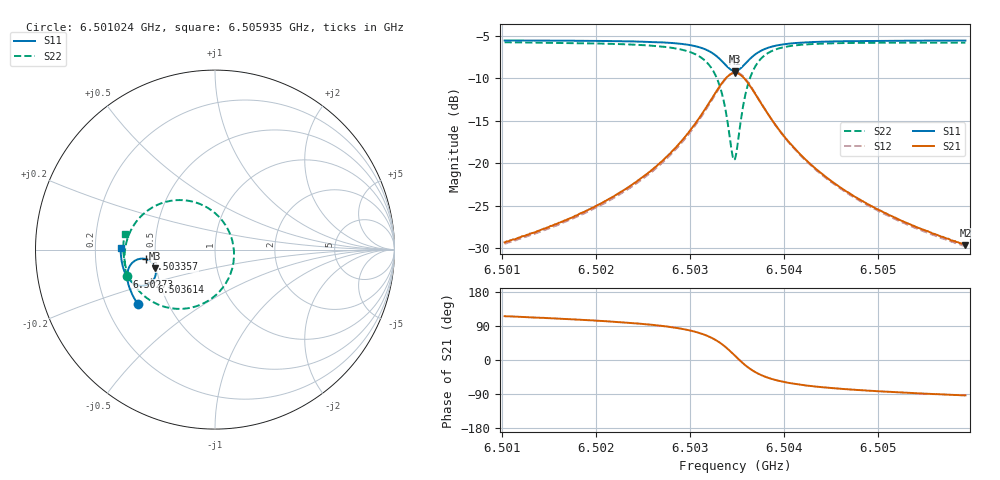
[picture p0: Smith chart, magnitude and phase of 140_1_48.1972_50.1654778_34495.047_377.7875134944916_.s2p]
#  HZ  S  RI  R  50.00
! Rohde & Schwarz Vector Network Analyzer
! Rohde-Schwarz,ZNB20-2Port,1311601062101988,3.16
! Created: UTC 3/20/2024, 11:42:16 AM
! freq[Hz]  re:S11  im:S11  re:S21  im:S21  re:S12  im:S12  re:S22  im:S22
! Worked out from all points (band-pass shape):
!   401 points, 6.501024 GHz to 6.505935 GHz, reference 50 ohm
!   highest |S21| = -9.38 dB at 6.503479 GHz (marker M1); lowest = -29.6 dB at 6.505935 GHz (marker M2)
!   |S21| within 3 dB of the highest: 6.503233 GHz to 6.503724 GHz (490.9 kHz wide, 0.00755 % of centre)
!   lowest |S11| = -9.2 dB at 6.503479 GHz (marker M3), VSWR 2.07, Z = 24.6 - j5.82 ohm
!   |S11| at or under -10 dB: nowhere
!   |S22| runs from -19.6 to -5.8 dB; largest |S21 - S12| = 0.012
!   S11 on the Smith chart (normalised r, x): 6.501024 GHz: 0.34, -0.28; 6.50273 GHz: 0.33, -0.14; 6.503357 GHz: 0.44, -0.05; 6.503614 GHz: 0.45, -0.19; 6.505935 GHz: 0.31, +0.01
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6.5010239e9  -0.4296 -0.3043  -0.0148 0.031  -0.013 0.0312  -0.4924 -0.1467
6.5018465e9  -0.4645 -0.2429  -0.014 0.0492  -0.0117 0.0487  -0.5041 -0.0578
6.5023131e9  -0.4804 -0.2009  -0.0109 0.0698  -0.00774 0.0685  -0.4999 0.0104
6.5026691e9  -0.4885 -0.1605  -0.00148 0.0992  0.00214 0.0968  -0.4793 0.0841
6.5027305e9  -0.489 -0.1523  0.00168 0.1066  0.00542 0.1038  -0.4723 0.1002
6.5029515e9  -0.4854 -0.1171  0.0237 0.142  0.0276 0.1376  -0.4258 0.1712
6.5031111e9  -0.4706 -0.085  0.0635 0.1781  0.0664 0.1723  -0.3487 0.2349
6.5032584e9  -0.4327 -0.0553  0.1456 0.2069  0.1464 0.2005  -0.1987 0.2759
6.5033566e9  -0.3861 -0.0525  0.2375 0.1901  0.2376 0.1851  -0.0397 0.2321
6.5034426e9  -0.3432 -0.0818  0.3159 0.1147  0.3182 0.1104  0.0853 0.0839
6.5034671e9  -0.3353 -0.0962  0.3291 0.0827  0.3322 0.0777  0.1019 0.0233
6.5034794e9  -0.3324 -0.104  0.3333 0.0658  0.3369 0.06  0.1055 -0.00828
6.503504e9  -0.3296 -0.1203  0.3366 0.031  0.3404 0.024  0.1029 -0.0719
6.5035408e9  -0.3317 -0.1445  0.3291 -0.0191  0.3324 -0.0283  0.0752 -0.1611
6.5036145e9  -0.3541 -0.1814  0.2821 -0.0956  0.2817 -0.1072  -0.036 -0.284
6.503725e9  -0.3998 -0.2012  0.1948 -0.1406  0.1893 -0.1506  -0.2128 -0.3299
6.5038846e9  -0.447 -0.1918  0.1109 -0.1368  0.1036 -0.142  -0.364 -0.2808
6.5040565e9  -0.475 -0.1704  0.0651 -0.1157  0.0588 -0.1179  -0.4377 -0.214
6.504302e9  -0.4959 -0.1404  0.0346 -0.0906  0.0297 -0.091  -0.482 -0.1404
6.5046949e9  -0.5122 -0.0991  0.0144 -0.0654  0.0111 -0.0649  -0.5052 -0.0603
6.5051246e9  -0.5209 -0.0591  0.00516 -0.0493  0.00282 -0.0487  -0.5108 0.00131
6.5059349e9  -0.526 0.00996  -0.00197 -0.0331  -0.00335 -0.0324  -0.5032 0.0887
